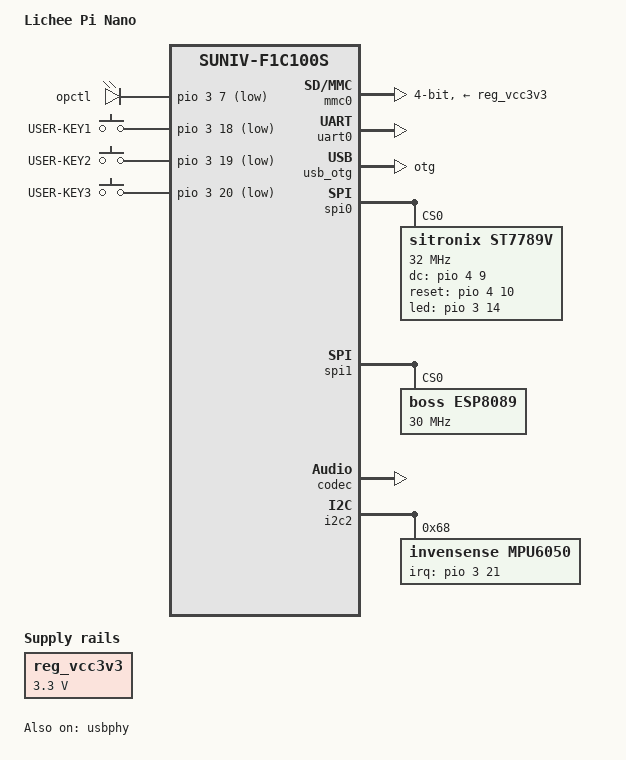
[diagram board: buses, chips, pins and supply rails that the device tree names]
// SPDX-License-Identifier: (GPL-2.0+ OR X11)
/*
 * Copyright 2018 Icenowy Zheng <icenowy@aosc.io>
 */

/dts-v1/;
#include "suniv-f1c100s.dtsi"
#include <dt-bindings/gpio/gpio.h>
#include <dt-bindings/input/input.h>
/ {
	model = "Lichee Pi Nano";
	compatible = "licheepi,licheepi-nano", "allwinner,suniv-f1c100s";

	aliases {
		serial0 = &uart0;
	};

	chosen {
		stdout-path = "serial0:115200n8";
	};



	reg_vcc3v3: vcc3v3 {
		compatible = "regulator-fixed";
		regulator-name = "vcc3v3";
		regulator-min-microvolt = <3300000>;
		regulator-max-microvolt = <3300000>;
	};
	leds {
		compatible = "gpio-leds";
		opctl {
			label = "opctl";
			//linux,default-trigger = "heartbeat"; //默认设置为系统心跳灯
			gpios = <&pio 3 7 GPIO_ACTIVE_LOW>; /* PE22 */
			default-state = "on";
		};
	};

	gpio-keys {
		compatible = "gpio-keys";
		autorepeat;
		key1{
			label = "USER-KEY1";
			linux,code = <KEY_DOWN>;//键值
			gpios = <&pio 3 18 GPIO_ACTIVE_LOW>; //PD18
			gpio-key,wakeup;
		};
		key2{
			label = "USER-KEY2";
			linux,code = <KEY_ENTER>;//键值
			gpios = <&pio 3 19 GPIO_ACTIVE_LOW>; //PD19
			gpio-key,wakeup;
		};
		key3{
			label = "USER-KEY3";
			linux,code = <KEY_UP>; //键值
			gpios = <&pio 3 20 GPIO_ACTIVE_LOW>; //PD20
			gpio-key,wakeup;
		};
	};
	
};

&mmc0 {
	vmmc-supply = <&reg_vcc3v3>;
	bus-width = <4>;
	broken-cd;
	status = "okay";
};

&uart0 {
	pinctrl-names = "default";
	pinctrl-0 = <&uart0_pe_pins>;
	status = "okay";
};

&otg_sram {
	status = "okay";
};

&usb_otg {
	dr_mode = "otg";
	status = "okay";
};

&usbphy {
	usb0_id_det-gpio = <&pio 4 2 GPIO_ACTIVE_HIGH>; /* PE2 */
	status = "okay";
};




&spi0{
    status = "okay";
    st7789v: st7789v@0{
        compatible = "sitronix,st7789v";
        reg = <0>;
        status = "okay";
        spi-max-frequency = <32000000>;
        spi-cpol;
        spi-cpha;
        rotate = <90>;
        fps = <60>;
        buswidth = <8>;
        dc-gpios = <&pio 4 9 GPIO_ACTIVE_HIGH>;  // PE9
        reset-gpios = <&pio 4 10 GPIO_ACTIVE_HIGH>; // PE10
        led-gpios = <&pio 3 14 GPIO_ACTIVE_HIGH>;  // PD14
        debug = <0x0>;
    };
};

&spi1 {
	status = "okay";   
	esp8089@0 {
		status = "okay";
		compatible = "boss,esp8089";
		spi-cpol;
		spi-cpha;
		reg = <0>;
		spi-max-frequency = <30000000>;
		reset= <133>; //PE5
		interrupt= <132>; //PE4
		debug= <0>;
	};
};

&codec {
	allwinner,audio-routing =
	"Headphone", "HP",
	"Headphone", "HPCOM",
	"MIC", "Mic";
	status = "okay";
};

&i2c2 {
	clock_frequency = <100000>;
	status = "okay";
	
	mpu6050: mpu6050@68 {
		compatible = "invensense,mpu6050";
		reg = <0x68>;
		interrupt-parent = <&pio>;
		//interrupts = <3 21 IRQ_TYPE_LEVEL_LOW>;
		interrupts = <3 21 IRQ_TYPE_EDGE_FALLING>;  /* PD21*/
		status = "okay";
	};
};

